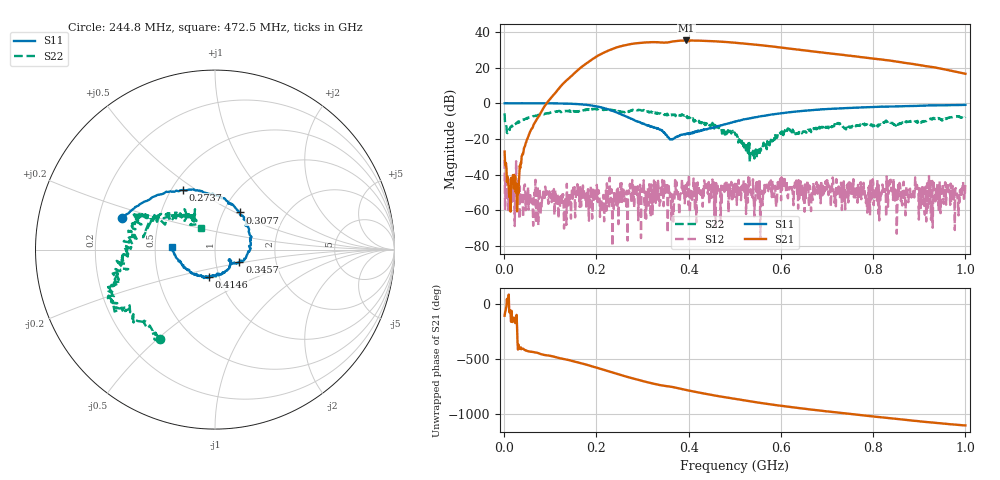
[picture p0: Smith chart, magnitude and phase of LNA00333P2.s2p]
! Created with skrf 1.9.0 (http://scikit-rf.org).
# Hz S RI R 50.0
!freq ReS11 ImS11 ReS21 ImS21 ReS12 ImS12 ReS22 ImS22
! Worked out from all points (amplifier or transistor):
!   1001 points, 1 MHz to 1 GHz, reference 50 ohm
!   highest |S21| = 35.2 dB at 394.6 MHz (marker M1)
!   |S21| within 3 dB of that: 256.7 MHz to 568 MHz (311.3 MHz wide, 75.5 % of centre)
!   unconditionally stable (mu >= 1): 229.3 MHz to 302.5 MHz; 302.8 MHz to 920.9 MHz; 921.1 MHz to end of sweep (the widest 3 of 30)
!   at 166.8 MHz: K = 2.68, MAG = 31.8 dB, |S12| = -57.9 dB
!   at 500.5 MHz: K = 1.81, MAG = 34.4 dB, |S12| = -45.2 dB
!   at 1 GHz: K = 1.53, MAG = 25.9 dB, |S12| = -43.8 dB
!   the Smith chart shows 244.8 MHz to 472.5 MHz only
!   S11 on the Smith chart (normalised r, x): 244.8 MHz: 0.30, +0.15; 273.7 MHz: 0.57, +0.44; 307.7 MHz: 1.19, +0.53; 345.7 MHz: 1.30, -0.18; 414.6 MHz: 0.89, -0.28; 472.5 MHz: 0.61, +0.02
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1000000  0.9917 0.0123  -0.0104 -0.0429  -0.0208 0.0146  0.3787 0.3537
1.08892e8  0.5067 -0.8543  -0.8454 -1.608  -0.000713 -0.000153  0.4256 -0.366
1.67833e8  -0.2546 -0.8873  -10.39 -0.4641  -0.000172 -0.0042  0.0547 -0.623
2.09791e8  -0.6737 -0.3654  -15.86 17.86  0.000712 0.00119  -0.1857 -0.6563
2.26774e8  -0.6595 -0.0826  -10.02 28.62  -0.000428 -0.000997  -0.2594 -0.5947
2.44756e8  -0.519 0.1735  2.202 37.02  -0.00178 0.00332  -0.3068 -0.4966
2.73727e8  -0.1778 0.3325  28.62 35.11  -0.00315 0.00124  -0.5151 -0.3401
3.07693e8  0.1381 0.2071  49.38 12.26  0.000171 0.000549  -0.5491 -0.194
3.34666e8  0.1902 -0.0121  49.93 -11.3  0.00255 0.0033  -0.5153 -0.0648
3.45655e8  0.1358 -0.0679  46.82 -17.98  0.00129 -0.000158  -0.508 0.0223
3.7063e8  0.089 -0.064  43.69 -33.88  -0.00212 0.00669  -0.4536 0.1435
3.94606e8  0.0478 -0.1287  28.83 -49.86  -0.0018 0.00158  -0.4036 0.1933
4.14586e8  -0.034 -0.152  12.81 -55.65  -0.000486 0.00151  -0.2609 0.184
4.41559e8  -0.1535 -0.1143  -8.509 -55.35  -0.000491 0.00286  -0.153 0.1887
4.72528e8  -0.2411 0.0162  -27.53 -44.87  0.00236 -0.0038  -0.0758 0.1179
5.005e8  -0.2538 0.1576  -39.28 -30.78  -0.00322 -0.00446  -0.0868 0.1123
5.4046e8  -0.1782 0.3522  -43.39 -9.002  -0.00236 -0.000581  -0.0332 -0.00357
5.88412e8  0.0328 0.4975  -36.23 11.54  0.00268 -0.00041  -0.0806 -0.0778
6.67333e8  0.4077 0.4918  -14.46 24.44  -0.00175 -0.00203  -0.1862 -0.051
7.55245e8  0.6925 0.273  3.799 20.66  -0.00245 -0.0032  -0.2297 -0.0145
8.34166e8  0.8043 0.0103  11.4 10.97  0.000231 -0.00314  -0.2911 -0.0611
1e9  0.7333 -0.5196  6.162 -2.65  -0.00445 0.00467  -0.391 0.1149
